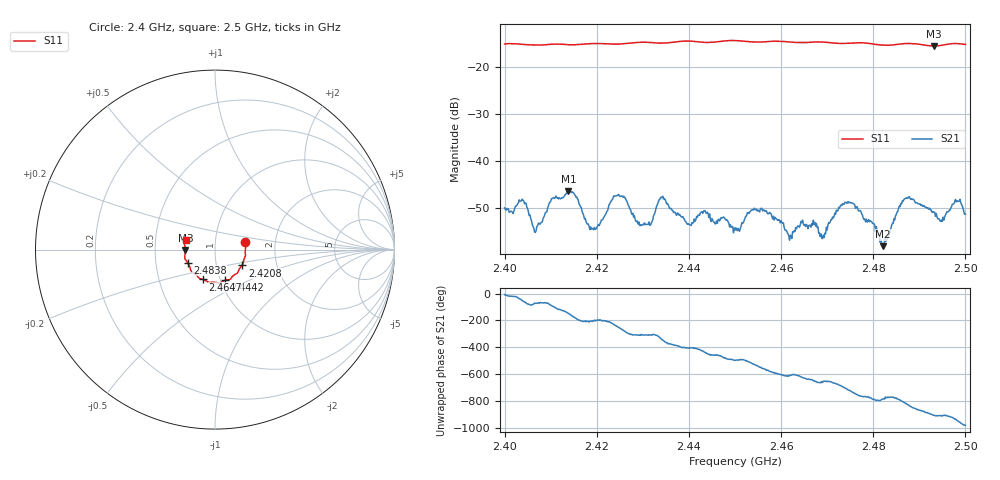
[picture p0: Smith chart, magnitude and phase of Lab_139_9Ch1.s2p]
# Hz S RI R 50
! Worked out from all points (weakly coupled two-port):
!   601 points, 2.4 GHz to 2.5 GHz, reference 50 ohm
!   highest |S21| = -46.42 dB at 2.4138 GHz (marker M1); lowest = -58.0 dB at 2.4822 GHz (marker M2)
!   lowest |S11| = -15.6 dB at 2.4932 GHz (marker M3), VSWR 1.40, Z = 35.8 - j0.0998 ohm
!   |S11| at or under -10 dB: start of sweep to end of sweep
!   S12 and S22 are empty: the file has one direction only
!   S11 on the Smith chart (normalised r, x): 2.4 GHz: 1.40, +0.12; 2.4208 GHz: 1.33, -0.24; 2.4442 GHz: 1.05, -0.37; 2.4647 GHz: 0.83, -0.29; 2.4838 GHz: 0.73, -0.11; 2.5 GHz: 0.72, +0.08
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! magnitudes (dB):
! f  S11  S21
! 2.4 GHz  -15.2  -49.9
! 2.4042 GHz  -15.3  -48.5
! 2.4067 GHz  -15.4  -55.1
! 2.4138 GHz  -15.4  -46.4
! 2.4167 GHz  -15.3  -49.9
! 2.4208 GHz  -15.1  -53.0
! 2.4242 GHz  -15.3  -47.4
! 2.4295 GHz  -14.9  -53.6
! 2.4333 GHz  -15.0  -48.7
! 2.4442 GHz  -14.9  -51.2
! 2.45 GHz  -14.5  -54.7
! 2.4542 GHz  -14.8  -50.0
! 2.4647 GHz  -14.9  -52.5
! 2.4667 GHz  -14.8  -53.3
! 2.4692 GHz  -14.8  -55.7
! 2.475 GHz  -15.1  -48.9
! 2.4822 GHz  -15.5  -58.0
! 2.4833 GHz  -15.5  -55.9
! 2.4838 GHz  -15.5  -54.3
! 2.4873 GHz  -15.1  -47.8
! 2.4932 GHz  -15.6  -50.8
! 2.5 GHz  -15.3  -51.2
